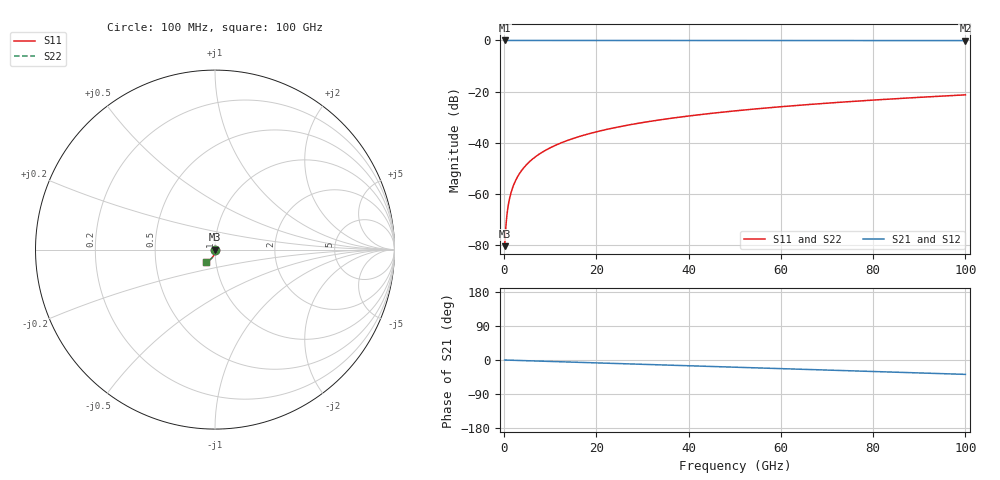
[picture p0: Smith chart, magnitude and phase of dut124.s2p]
! Touchstone file exported from HFSS 2026.1.0
!  File:  C:/ffzhzh/LocalFiles/Ansys_Project_Files/temp_train_TSV_124_1783506157_9504.aedt
!  Generated:  06:23:51 PM Jul  8, 2026
!  Design:  TSV
!  Project:  temp_train_TSV_124_1783506157_9504
! Variables:
!  h_bsmrdl = 2um
!  h_ox = 20um
!  h_rdl = 5um
!  h_sub = 75.1um
!  h_tmrdl = 5um
!  h_tsv = 75.1um
!  h_via = 3um
!  l_bsmrdl = 300um
!  l_sub = 425.98um
!  l_tmrdl = 200um
!  m_sub = 200um
!  pitch = 46.13um
!  r_tsv = 12.99um
!  s_tmrdl = 10um
!  w_bsmrdl = 18um
!  w_sub = 500um
!  w_tmrdl = 12um
!  x_tsv_center1 = 206um
!  x_tsv_center2 = 524um
!  x_tsv_center3 = 736um
!  x_tsv_center4 = 1054um
!  x_tsv_center5 = 1266um
!  x_tsv_center6 = 1584um
# GHz S MA R 50.000000
! Terminal data exported
! Port[1] = TSV1_1_T1
! Port[2] = TSV1_1_T2
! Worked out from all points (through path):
!   1000 points, 100 MHz to 100 GHz, reference 50 ohm
!   highest |S21| = 0.00 dB at 100 MHz (marker M1); lowest = -0.1 dB at 100 GHz (marker M2)
!   group delay of S21, straight-line fit = 1.05 ps
!   lowest |S11| = -80.6 dB at 100 MHz (marker M3), VSWR 1.00, Z = 50 - j0.0041 ohm
!   |S11| at or under -10 dB: start of sweep to end of sweep
!   |S22| runs from -80.6 to -21.3 dB; largest |S21 - S12| = 2.1e-15
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0.1  9.363e-05 -26.0  0.9999 -0.0  0.9999 -0.0  9.363e-05 -26.0
! Gamma 0 0 0 0
! Port Impedance 50 0 50 0
0.4  0.0002425 -55.2  0.9999 -0.2  0.9999 -0.2  0.0002425 -55.2
0.8  0.0005233 -66.7  0.9998 -0.3  0.9998 -0.3  0.0005233 -66.7
0.9  0.0005973 -68.5  0.9998 -0.4  0.9998 -0.4  0.0005973 -68.5
1.2  0.0008219 -72.4  0.9997 -0.5  0.9997 -0.5  0.0008219 -72.4
1.5  0.001049 -74.9  0.9997 -0.6  0.9997 -0.6  0.001049 -74.9
2  0.001431 -77.7  0.9997 -0.8  0.9997 -0.8  0.001431 -77.7
2.5  0.00182 -79.5  0.9996 -1.0  0.9996 -1.0  0.00182 -79.5
3.2  0.002372 -81.2  0.9996 -1.2  0.9996 -1.2  0.002372 -81.2
4  0.003012 -82.7  0.9995 -1.5  0.9995 -1.5  0.003012 -82.7
5  0.003819 -84.1  0.9995 -1.9  0.9995 -1.9  0.003819 -84.1
6.1  0.004714 -85.4  0.9994 -2.3  0.9994 -2.3  0.004713 -85.4
8.9  0.007006 -87.7  0.9993 -3.4  0.9993 -3.4  0.007006 -87.7
12.4  0.009904 -89.9  0.9991 -4.7  0.9991 -4.7  0.009904 -89.9
16.8  0.01357 -92.3  0.9989 -6.4  0.9989 -6.4  0.01357 -92.3
24.1  0.01969 -95.8  0.9986 -9.1  0.9986 -9.1  0.01969 -95.8
33.4  0.02755 -99.8  0.9982 -12.6  0.9982 -12.6  0.02755 -99.8
41.2  0.03419 -103.1  0.9979 -15.6  0.9979 -15.6  0.03419 -103.1
50.1  0.04181 -106.7  0.9974 -19.0  0.9974 -19.0  0.04181 -106.7
66.7  0.05621 -113.4  0.9964 -25.3  0.9964 -25.3  0.05621 -113.4
83.4  0.07099 -120.0  0.9951 -31.6  0.9951 -31.6  0.07098 -120.0
100  0.08604 -126.6  0.9935 -37.9  0.9935 -37.9  0.08604 -126.6
